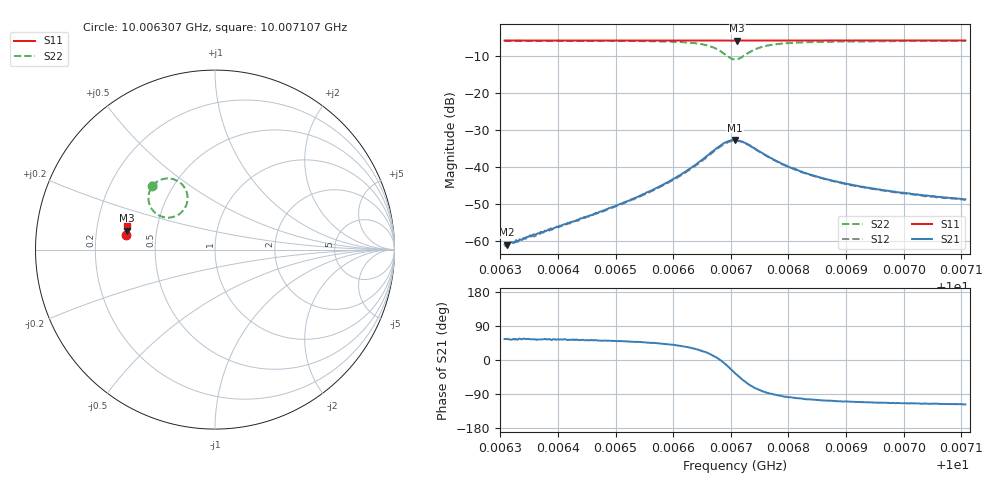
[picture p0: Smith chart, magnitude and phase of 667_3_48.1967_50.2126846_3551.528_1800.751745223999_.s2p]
#  HZ  S  RI  R  50.00
! Rohde & Schwarz Vector Network Analyzer
! Rohde-Schwarz,ZNB20-2Port,1311601062101988,3.16
! Created: UTC 3/20/2024, 12:05:59 PM
! freq[Hz]  re:S11  im:S11  re:S21  im:S21  re:S12  im:S12  re:S22  im:S22
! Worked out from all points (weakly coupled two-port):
!   401 points, 10.006307 GHz to 10.007107 GHz, reference 50 ohm
!   highest |S21| = -32.78 dB at 10.006707 GHz (marker M1); lowest = -61.0 dB at 10.006311 GHz (marker M2)
!   lowest |S11| = -6.0 dB at 10.006711 GHz (marker M3), VSWR 3.02, Z = 16.7 + j4.69 ohm
!   |S11| at or under -10 dB: nowhere
!   |S22| runs from -11.1 to -6.0 dB; largest |S21 - S12| = 0.0019
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1.00063075e10  -0.4976 0.0799  0.000506 0.00073  0.00043 0.000751  -0.3499 0.3569
1.00063115e10  -0.4974 0.0801  0.000498 0.000734  0.000463 0.00073  -0.3495 0.3573
1.00064414e10  -0.4963 0.0886  0.00122 0.0016  0.00109 0.0016  -0.3353 0.37
1.00065194e10  -0.4954 0.0937  0.00223 0.00256  0.00206 0.00261  -0.32 0.3803
1.00065754e10  -0.4948 0.0974  0.00387 0.0037  0.00359 0.00381  -0.2996 0.3899
1.00066213e10  -0.4939 0.1008  0.00701 0.00489  0.00657 0.00511  -0.2653 0.3963
1.00066613e10  -0.4927 0.1035  0.0138 0.00441  0.0131 0.00511  -0.2021 0.3783
1.00066753e10  -0.4921 0.1042  0.0176 0.00202  0.0169 0.00297  -0.1719 0.3488
1.00066893e10  -0.4915 0.1046  0.0207 -0.00346  0.0201 -0.00185  -0.153 0.294
1.00066993e10  -0.4912 0.1048  0.0208 -0.00877  0.0209 -0.00697  -0.1616 0.2439
1.00067073e10  -0.4913 0.1048  0.0189 -0.013  0.0194 -0.0111  -0.1865 0.208
1.00067113e10  -0.4912 0.1048  0.0175 -0.0146  0.018 -0.0131  -0.2038 0.1947
1.00067273e10  -0.4918 0.1052  0.0101 -0.0177  0.0114 -0.0168  -0.2787 0.1793
1.00067413e10  -0.4921 0.1061  0.005 -0.0169  0.00622 -0.0165  -0.3252 0.1983
1.00067553e10  -0.4923 0.107  0.00196 -0.0151  0.00298 -0.0148  -0.3507 0.224
1.00067773e10  -0.4923 0.1087  -0.000315 -0.0121  0.000375 -0.0121  -0.3668 0.258
1.00068013e10  -0.4922 0.1105  -0.00143 -0.0098  -0.000894 -0.00979  -0.3706 0.2835
1.00068412e10  -0.4919 0.1134  -0.00192 -0.00741  -0.00153 -0.00741  -0.3685 0.3094
1.00069112e10  -0.4909 0.1179  -0.00198 -0.00531  -0.0017 -0.00532  -0.3607 0.3332
1.00069752e10  -0.4901 0.1222  -0.00185 -0.0043  -0.00163 -0.00434  -0.3541 0.3453
1.00070351e10  -0.4894 0.1261  -0.00175 -0.0037  -0.00153 -0.0037  -0.3491 0.3533
1.00071071e10  -0.4883 0.1306  -0.00166 -0.00322  -0.00142 -0.00328  -0.3434 0.3609
